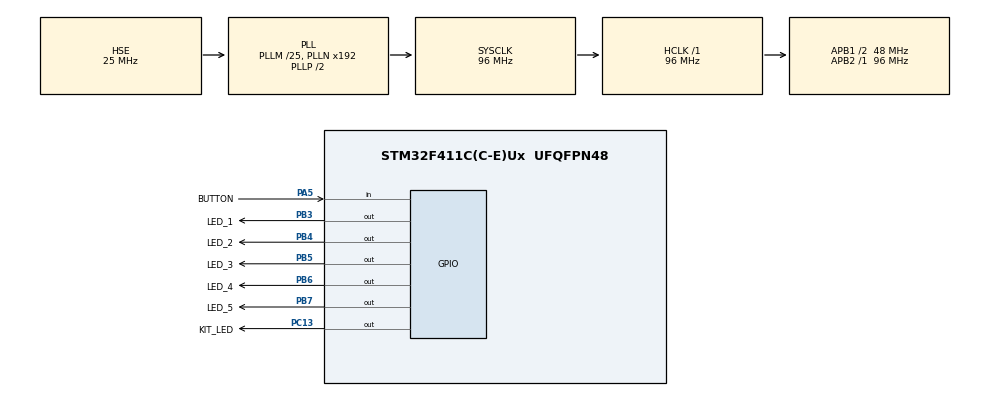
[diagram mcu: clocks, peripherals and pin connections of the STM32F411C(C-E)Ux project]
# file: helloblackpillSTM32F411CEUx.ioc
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Mcu.Family=STM32F4
Mcu.Name=STM32F411C(C-E)Ux
Mcu.Package=UFQFPN48
NVIC.PriorityGroup=NVIC_PRIORITYGROUP_4
PA13.Mode=Serial_Wire
PA13.Signal=SYS_JTMS-SWDIO
PA14.Mode=Serial_Wire
PA14.Signal=SYS_JTCK-SWCLK
PA5.GPIO_Label=BUTTON
PA5.Signal=GPIO_Input
PB3.GPIO_Label=LED_1
PB3.Signal=GPIO_Output
PB4.GPIO_Label=LED_2
PB4.Signal=GPIO_Output
PB5.GPIO_Label=LED_3
PB5.Signal=GPIO_Output
PB6.GPIO_Label=LED_4
PB6.Signal=GPIO_Output
PB7.GPIO_Label=LED_5
PB7.Signal=GPIO_Output
PC13-ANTI_TAMP.GPIO_Label=KIT_LED
PC13-ANTI_TAMP.Signal=GPIO_Output
PC14-OSC32_IN.Mode=LSE-External-Oscillator
PC14-OSC32_IN.Signal=RCC_OSC32_IN
PC15-OSC32_OUT.Mode=LSE-External-Oscillator
PC15-OSC32_OUT.Signal=RCC_OSC32_OUT
PH0\ -\ OSC_IN.Mode=HSE-External-Oscillator
PH0\ -\ OSC_IN.Signal=RCC_OSC_IN
PH1\ -\ OSC_OUT.Mode=HSE-External-Oscillator
PH1\ -\ OSC_OUT.Signal=RCC_OSC_OUT
ProjectManager.HeapSize=0x200
ProjectManager.StackSize=0x400
ProjectManager.TargetToolchain=Makefile
RCC.48MHZClocksFreq_Value=48000000
RCC.AHBFreq_Value=96000000
RCC.APB1CLKDivider=RCC_HCLK_DIV2
RCC.APB1Freq_Value=48000000
RCC.APB1TimFreq_Value=96000000
RCC.APB2Freq_Value=96000000
RCC.APB2TimFreq_Value=96000000
RCC.CortexFreq_Value=96000000
RCC.HCLKFreq_Value=96000000
RCC.HSE_VALUE=25000000
RCC.HSI_VALUE=16000000
RCC.PLLM=25
RCC.PLLSourceVirtual=RCC_PLLSOURCE_HSE
RCC.SYSCLKFreq_VALUE=96000000
RCC.SYSCLKSource=RCC_SYSCLKSOURCE_PLLCLK
RCC.VCOOutputFreq_Value=192000000
board=custom

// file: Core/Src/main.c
/* USER CODE BEGIN Header */
/**
  ******************************************************************************
  * @file           : main.c
  * @brief          : Main program body
  ******************************************************************************
  * @attention
  *
  * Copyright (c) 2022 STMicroelectronics.
  * All rights reserved.
  *
  * This software is licensed under terms that can be found in the LICENSE file
  * in the root directory of this software component.
  * If no LICENSE file comes with this software, it is provided AS-IS.
  *
  ******************************************************************************
  */
/* USER CODE END Header */
#include "main.h"
#include "button.h"

void SystemClock_Config(void);
static void MX_GPIO_Init(void);

int main(void)
{
  /* USER CODE BEGIN 1 */
  uint32_t i;
  uint16_t leds = 0;
  /* USER CODE END 1 */

  /* MCU Configuration--------------------------------------------------------*/

  /* Reset of all peripherals, Initializes the Flash interface and the Systick. */
  HAL_Init();

  /* Configure the system clock */
  SystemClock_Config();

  /* Initialize all configured peripherals */
  MX_GPIO_Init();

  /* Infinite loop */
  /* USER CODE BEGIN WHILE */
  while (1)
  {

    for( i = 0; i < 10; i++)
    {
    // Lê o sinal do botão
      if( button_release( GPIOA, GPIO_PIN_5, 0 ) )
      {
        // Começa com os leds apagados
        HAL_GPIO_WritePin( GPIOB, leds, 0 );

        if( leds == 0 )
        {
          leds = LED_1_Pin;
        } else if ( leds == LED_1_Pin)
        {
          leds = LED_2_Pin;
        } else if ( leds == LED_2_Pin)
        {
          leds = LED_3_Pin;
        } else if ( leds == LED_3_Pin)
        {
          leds = LED_4_Pin;
        } else if ( leds == LED_4_Pin)
        {
          leds = LED_5_Pin;
        } else if ( leds == LED_5_Pin)
        {
          leds = 0;
        }

        // Acende dos leds setados
        HAL_GPIO_WritePin( GPIOB, leds, 1 );
      }
      HAL_Delay(45);
    }
    HAL_Delay(200);

    /* USER CODE END WHILE */

  }
}

void SystemClock_Config(void)
{
  RCC_OscInitTypeDef RCC_OscInitStruct = {0};
  RCC_ClkInitTypeDef RCC_ClkInitStruct = {0};

  /** Configure the main internal regulator output voltage
  */
  __HAL_RCC_PWR_CLK_ENABLE();
  __HAL_PWR_VOLTAGESCALING_CONFIG(PWR_REGULATOR_VOLTAGE_SCALE1);

  /** Initializes the RCC Oscillators according to the specified parameters
  * in the RCC_OscInitTypeDef structure.
  */
  RCC_OscInitStruct.OscillatorType = RCC_OSCILLATORTYPE_HSE;
  RCC_OscInitStruct.HSEState = RCC_HSE_ON;
  RCC_OscInitStruct.PLL.PLLState = RCC_PLL_ON;
  RCC_OscInitStruct.PLL.PLLSource = RCC_PLLSOURCE_HSE;
  RCC_OscInitStruct.PLL.PLLM = 25;
  RCC_OscInitStruct.PLL.PLLN = 192;
  RCC_OscInitStruct.PLL.PLLP = RCC_PLLP_DIV2;
  RCC_OscInitStruct.PLL.PLLQ = 4;
  if (HAL_RCC_OscConfig(&RCC_OscInitStruct) != HAL_OK)
  {
    Error_Handler();
  }

  /** Initializes the CPU, AHB and APB buses clocks
  */
  RCC_ClkInitStruct.ClockType = RCC_CLOCKTYPE_HCLK|RCC_CLOCKTYPE_SYSCLK
                              |RCC_CLOCKTYPE_PCLK1|RCC_CLOCKTYPE_PCLK2;
  RCC_ClkInitStruct.SYSCLKSource = RCC_SYSCLKSOURCE_PLLCLK;
  RCC_ClkInitStruct.AHBCLKDivider = RCC_SYSCLK_DIV1;
  RCC_ClkInitStruct.APB1CLKDivider = RCC_HCLK_DIV2;
  RCC_ClkInitStruct.APB2CLKDivider = RCC_HCLK_DIV1;

  if (HAL_RCC_ClockConfig(&RCC_ClkInitStruct, FLASH_LATENCY_3) != HAL_OK)
  {
    Error_Handler();
  }
}

static void MX_GPIO_Init(void)
{
  GPIO_InitTypeDef GPIO_InitStruct = {0};

  /* GPIO Ports Clock Enable */
  __HAL_RCC_GPIOC_CLK_ENABLE();
  __HAL_RCC_GPIOH_CLK_ENABLE();
  __HAL_RCC_GPIOA_CLK_ENABLE();
  __HAL_RCC_GPIOB_CLK_ENABLE();

  /*Configure GPIO pin Output Level */
  HAL_GPIO_WritePin(KIT_LED_GPIO_Port, KIT_LED_Pin, GPIO_PIN_RESET);

  /*Configure GPIO pin Output Level */
  HAL_GPIO_WritePin(GPIOB, LED_1_Pin|LED_2_Pin|LED_3_Pin|LED_4_Pin
                          |LED_5_Pin, GPIO_PIN_RESET);

  /*Configure GPIO pin : KIT_LED_Pin */
  GPIO_InitStruct.Pin = KIT_LED_Pin;
  GPIO_InitStruct.Mode = GPIO_MODE_OUTPUT_PP;
  GPIO_InitStruct.Pull = GPIO_NOPULL;
  GPIO_InitStruct.Speed = GPIO_SPEED_FREQ_LOW;
  HAL_GPIO_Init(KIT_LED_GPIO_Port, &GPIO_InitStruct);

  /*Configure GPIO pin : BUTTON_Pin */
  GPIO_InitStruct.Pin = BUTTON_Pin;
  GPIO_InitStruct.Mode = GPIO_MODE_INPUT;
  GPIO_InitStruct.Pull = GPIO_NOPULL;
  HAL_GPIO_Init(BUTTON_GPIO_Port, &GPIO_InitStruct);

  /*Configure GPIO pins : LED_1_Pin LED_2_Pin LED_3_Pin LED_4_Pin
                           LED_5_Pin */
  GPIO_InitStruct.Pin = LED_1_Pin|LED_2_Pin|LED_3_Pin|LED_4_Pin
                          |LED_5_Pin;
  GPIO_InitStruct.Mode = GPIO_MODE_OUTPUT_PP;
  GPIO_InitStruct.Pull = GPIO_NOPULL;
  GPIO_InitStruct.Speed = GPIO_SPEED_FREQ_LOW;
  HAL_GPIO_Init(GPIOB, &GPIO_InitStruct);

}

void Error_Handler(void)
{
  __disable_irq();
  while (1)
  {
  }
}
